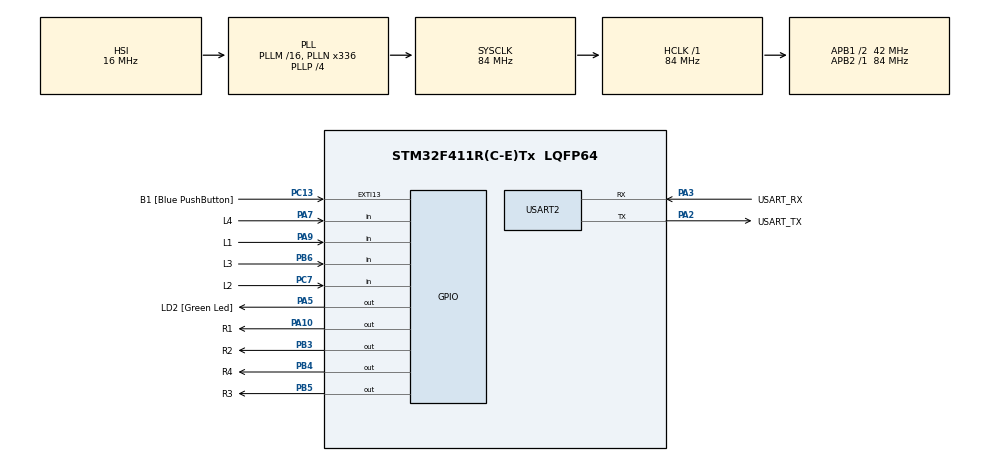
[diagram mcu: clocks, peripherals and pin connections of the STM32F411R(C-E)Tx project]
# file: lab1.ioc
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Mcu.Family=STM32F4
Mcu.Name=STM32F411R(C-E)Tx
Mcu.Package=LQFP64
NVIC.PriorityGroup=NVIC_PRIORITYGROUP_0
PA10.GPIO_Label=R1
PA10.GPIO_Speed=GPIO_SPEED_FREQ_LOW
PA10.PinState=GPIO_PIN_SET
PA10.Signal=GPIO_Output
PA13.GPIO_Label=TMS
PA13.Mode=Serial_Wire
PA13.Signal=SYS_JTMS-SWDIO
PA14.GPIO_Label=TCK
PA14.Mode=Serial_Wire
PA14.Signal=SYS_JTCK-SWCLK
PA2.GPIO_Label=USART_TX
PA2.Mode=Asynchronous
PA2.Signal=USART2_TX
PA3.GPIO_Label=USART_RX
PA3.Mode=Asynchronous
PA3.Signal=USART2_RX
PA5.GPIO_Label=LD2 [Green Led]
PA5.Signal=GPIO_Output
PA7.GPIO_Label=L4
PA7.GPIO_PuPd=GPIO_PULLUP
PA7.Signal=GPIO_Input
PA9.GPIO_Label=L1
PA9.GPIO_PuPd=GPIO_PULLUP
PA9.Signal=GPIO_Input
PB3.GPIO_Label=R2
PB3.GPIO_Speed=GPIO_SPEED_FREQ_LOW
PB3.PinState=GPIO_PIN_SET
PB3.Signal=GPIO_Output
PB4.GPIO_Label=R4
PB4.GPIO_Speed=GPIO_SPEED_FREQ_LOW
PB4.PinState=GPIO_PIN_SET
PB4.Signal=GPIO_Output
PB5.GPIO_Label=R3
PB5.GPIO_Speed=GPIO_SPEED_FREQ_LOW
PB5.PinState=GPIO_PIN_SET
PB5.Signal=GPIO_Output
PB6.GPIO_Label=L3
PB6.GPIO_PuPd=GPIO_PULLUP
PB6.Signal=GPIO_Input
PC13-ANTI_TAMP.GPIO_Label=B1 [Blue PushButton]
PC13-ANTI_TAMP.GPIO_ModeDefaultEXTI=GPIO_MODE_IT_FALLING
PC13-ANTI_TAMP.Signal=GPXTI13
PC14-OSC32_IN.Mode=LSE-External-Oscillator
PC14-OSC32_IN.Signal=RCC_OSC32_IN
PC15-OSC32_OUT.Mode=LSE-External-Oscillator
PC15-OSC32_OUT.Signal=RCC_OSC32_OUT
PC7.GPIO_Label=L2
PC7.GPIO_PuPd=GPIO_PULLUP
PC7.Signal=GPIO_Input
PH0\ -\ OSC_IN.Mode=HSE-External-Clock-Source
PH0\ -\ OSC_IN.Signal=RCC_OSC_IN
PH1\ -\ OSC_OUT.Mode=HSE-External-Clock-Source
PH1\ -\ OSC_OUT.Signal=RCC_OSC_OUT
ProjectManager.HeapSize=0x200
ProjectManager.StackSize=0x400
ProjectManager.TargetToolchain=STM32CubeIDE
RCC.48MHZClocksFreq_Value=84000000
RCC.AHBFreq_Value=84000000
RCC.APB1CLKDivider=RCC_HCLK_DIV2
RCC.APB1Freq_Value=42000000
RCC.APB1TimFreq_Value=84000000
RCC.APB2Freq_Value=84000000
RCC.APB2TimFreq_Value=84000000
RCC.CortexFreq_Value=84000000
RCC.FLatency-AdvancedSettings=FLASH_LATENCY_2
RCC.HCLKFreq_Value=84000000
RCC.HSE_VALUE=8000000
RCC.HSI_VALUE=16000000
RCC.PLLN=336
RCC.PLLP=RCC_PLLP_DIV4
RCC.SYSCLKFreq_VALUE=84000000
RCC.SYSCLKSource=RCC_SYSCLKSOURCE_PLLCLK
RCC.VCOOutputFreq_Value=336000000
USART2.VirtualMode=VM_ASYNC
board=NUCLEO-F411RE

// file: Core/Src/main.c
/* USER CODE BEGIN Header */
/**
  ******************************************************************************
  * @file           : main.c
  * @brief          : Main program body
  ******************************************************************************
  * @attention
  *
  * Copyright (c) 2023 STMicroelectronics.
  * All rights reserved.
  *
  * This software is licensed under terms that can be found in the LICENSE file
  * in the root directory of this software component.
  * If no LICENSE file comes with this software, it is provided AS-IS.
  *
  ******************************************************************************
  */
/* USER CODE END Header */
#include "main.h"

UART_HandleTypeDef huart2;

/* USER CODE BEGIN PV */
struct PortPin
{
	GPIO_TypeDef* PORT;
	uint16_t PIN;
};

struct PortPin R[4] = {

	{GPIOA, GPIO_PIN_10},
	{GPIOB, GPIO_PIN_3},
	{GPIOB, GPIO_PIN_5},
	{GPIOB, GPIO_PIN_4}

};

struct PortPin L[4] = {

	{GPIOA, GPIO_PIN_9},
	{GPIOC, GPIO_PIN_7},
	{GPIOB, GPIO_PIN_6},
	{GPIOA, GPIO_PIN_7}

};

uint16_t MyID[11] = {
	// 64340500016
	0b1000000000, //6
	0b10, //4
	0b10000000000, //3
	0b10, //4
	0b1000, // 0
	0b100000, // 5
	0b1000, // 0
	0b1000, // 0
	0b1000, // 0
	0b100, // 1
	0b1000000000 //6
};

uint16_t ButtonMatrix = 0;
uint16_t BackupMatrix = 0;
uint8_t countinput = 0;
uint8_t flag = 0;

/* USER CODE END PV */

void SystemClock_Config(void);
static void MX_GPIO_Init(void);
static void MX_USART2_UART_Init(void);
/* USER CODE BEGIN PFP */
void ReadMatrixButton_1Row();

/* USER CODE END PFP */

int main(void)
{

  /* MCU Configuration--------------------------------------------------------*/

  /* Reset of all peripherals, Initializes the Flash interface and the Systick. */
  HAL_Init();

  /* Configure the system clock */
  SystemClock_Config();

  /* Initialize all configured peripherals */
  MX_GPIO_Init();
  MX_USART2_UART_Init();

  /* Infinite loop */
  while (1)
  {

    /* USER CODE BEGIN 3 */
	  static uint32_t timestamp = 0;
	  if(HAL_GetTick() >= timestamp)
	  {
		timestamp = HAL_GetTick() + 100;

		// read matrix
		register int j;
		for(j=0;j<4;j++){
			ReadMatrixButton_1Row();
		}
		if(BackupMatrix == 0 && ButtonMatrix != 0 && flag <= 10 && (ButtonMatrix != 0b10000000000000)){
			countinput++;
			if(ButtonMatrix == MyID[countinput-1]){
				flag = flag + 1;
			}
		}
	  }

		// Check ok
		if((ButtonMatrix == 0b1000000000000000) && (flag == 11) && (BackupMatrix == 0)){
			HAL_GPIO_WritePin(GPIOA, GPIO_PIN_5, GPIO_PIN_SET); // LD2 ติด
		}

		// Check backspace
		if((ButtonMatrix == 0b10000000000000) &&(BackupMatrix == 0)){
			countinput--;
		}

		// Check clear
		if((ButtonMatrix == 0b1000000000000) && (BackupMatrix == 0)){
			HAL_GPIO_WritePin(GPIOA, GPIO_PIN_5, GPIO_PIN_RESET); // LD2 ดับ
			countinput = 0;
			flag = 0;
		}
		BackupMatrix = ButtonMatrix; // update

  }
  /* USER CODE END 3 */
}

void SystemClock_Config(void)
{
  RCC_OscInitTypeDef RCC_OscInitStruct = {0};
  RCC_ClkInitTypeDef RCC_ClkInitStruct = {0};

  /** Configure the main internal regulator output voltage
  */
  __HAL_RCC_PWR_CLK_ENABLE();
  __HAL_PWR_VOLTAGESCALING_CONFIG(PWR_REGULATOR_VOLTAGE_SCALE1);

  /** Initializes the RCC Oscillators according to the specified parameters
  * in the RCC_OscInitTypeDef structure.
  */
  RCC_OscInitStruct.OscillatorType = RCC_OSCILLATORTYPE_HSI;
  RCC_OscInitStruct.HSIState = RCC_HSI_ON;
  RCC_OscInitStruct.HSICalibrationValue = RCC_HSICALIBRATION_DEFAULT;
  RCC_OscInitStruct.PLL.PLLState = RCC_PLL_ON;
  RCC_OscInitStruct.PLL.PLLSource = RCC_PLLSOURCE_HSI;
  RCC_OscInitStruct.PLL.PLLM = 16;
  RCC_OscInitStruct.PLL.PLLN = 336;
  RCC_OscInitStruct.PLL.PLLP = RCC_PLLP_DIV4;
  RCC_OscInitStruct.PLL.PLLQ = 4;
  if (HAL_RCC_OscConfig(&RCC_OscInitStruct) != HAL_OK)
  {
    Error_Handler();
  }

  /** Initializes the CPU, AHB and APB buses clocks
  */
  RCC_ClkInitStruct.ClockType = RCC_CLOCKTYPE_HCLK|RCC_CLOCKTYPE_SYSCLK
                              |RCC_CLOCKTYPE_PCLK1|RCC_CLOCKTYPE_PCLK2;
  RCC_ClkInitStruct.SYSCLKSource = RCC_SYSCLKSOURCE_PLLCLK;
  RCC_ClkInitStruct.AHBCLKDivider = RCC_SYSCLK_DIV1;
  RCC_ClkInitStruct.APB1CLKDivider = RCC_HCLK_DIV2;
  RCC_ClkInitStruct.APB2CLKDivider = RCC_HCLK_DIV1;

  if (HAL_RCC_ClockConfig(&RCC_ClkInitStruct, FLASH_LATENCY_2) != HAL_OK)
  {
    Error_Handler();
  }
}

static void MX_USART2_UART_Init(void)
{

  huart2.Instance = USART2;
  huart2.Init.BaudRate = 115200;
  huart2.Init.WordLength = UART_WORDLENGTH_8B;
  huart2.Init.StopBits = UART_STOPBITS_1;
  huart2.Init.Parity = UART_PARITY_NONE;
  huart2.Init.Mode = UART_MODE_TX_RX;
  huart2.Init.HwFlowCtl = UART_HWCONTROL_NONE;
  huart2.Init.OverSampling = UART_OVERSAMPLING_16;
  if (HAL_UART_Init(&huart2) != HAL_OK)
  {
    Error_Handler();
  }

}

static void MX_GPIO_Init(void)
{
  GPIO_InitTypeDef GPIO_InitStruct = {0};

  /* GPIO Ports Clock Enable */
  __HAL_RCC_GPIOC_CLK_ENABLE();
  __HAL_RCC_GPIOH_CLK_ENABLE();
  __HAL_RCC_GPIOA_CLK_ENABLE();
  __HAL_RCC_GPIOB_CLK_ENABLE();

  /*Configure GPIO pin Output Level */
  HAL_GPIO_WritePin(LD2_GPIO_Port, LD2_Pin, GPIO_PIN_RESET);

  /*Configure GPIO pin Output Level */
  HAL_GPIO_WritePin(R1_GPIO_Port, R1_Pin, GPIO_PIN_SET);

  /*Configure GPIO pin Output Level */
  HAL_GPIO_WritePin(GPIOB, R2_Pin|R4_Pin|R3_Pin, GPIO_PIN_SET);

  /*Configure GPIO pin : B1_Pin */
  GPIO_InitStruct.Pin = B1_Pin;
  GPIO_InitStruct.Mode = GPIO_MODE_IT_FALLING;
  GPIO_InitStruct.Pull = GPIO_NOPULL;
  HAL_GPIO_Init(B1_GPIO_Port, &GPIO_InitStruct);

  /*Configure GPIO pins : LD2_Pin R1_Pin */
  GPIO_InitStruct.Pin = LD2_Pin|R1_Pin;
  GPIO_InitStruct.Mode = GPIO_MODE_OUTPUT_PP;
  GPIO_InitStruct.Pull = GPIO_NOPULL;
  GPIO_InitStruct.Speed = GPIO_SPEED_FREQ_LOW;
  HAL_GPIO_Init(GPIOA, &GPIO_InitStruct);

  /*Configure GPIO pins : L4_Pin L1_Pin */
  GPIO_InitStruct.Pin = L4_Pin|L1_Pin;
  GPIO_InitStruct.Mode = GPIO_MODE_INPUT;
  GPIO_InitStruct.Pull = GPIO_PULLUP;
  HAL_GPIO_Init(GPIOA, &GPIO_InitStruct);

  /*Configure GPIO pin : L2_Pin */
  GPIO_InitStruct.Pin = L2_Pin;
  GPIO_InitStruct.Mode = GPIO_MODE_INPUT;
  GPIO_InitStruct.Pull = GPIO_PULLUP;
  HAL_GPIO_Init(L2_GPIO_Port, &GPIO_InitStruct);

  /*Configure GPIO pins : R2_Pin R4_Pin R3_Pin */
  GPIO_InitStruct.Pin = R2_Pin|R4_Pin|R3_Pin;
  GPIO_InitStruct.Mode = GPIO_MODE_OUTPUT_PP;
  GPIO_InitStruct.Pull = GPIO_NOPULL;
  GPIO_InitStruct.Speed = GPIO_SPEED_FREQ_LOW;
  HAL_GPIO_Init(GPIOB, &GPIO_InitStruct);

  /*Configure GPIO pin : L3_Pin */
  GPIO_InitStruct.Pin = L3_Pin;
  GPIO_InitStruct.Mode = GPIO_MODE_INPUT;
  GPIO_InitStruct.Pull = GPIO_PULLUP;
  HAL_GPIO_Init(L3_GPIO_Port, &GPIO_InitStruct);

}

/* USER CODE BEGIN 4 */
void ReadMatrixButton_1Row()
{
	//
	static uint8_t X = 0;

	// Read L1-L4
	register int i;
	for(i=0;i<4;i++)
	{
		if(HAL_GPIO_ReadPin(L[i].PORT, L[i].PIN) == 1)// HIGH ไม่โดนกด
		{
			ButtonMatrix &= ~(1<<(X*4+i));
			// x = 0 , i = 1
			// ~(1<<(X*4+i)) = ~(1<<(0*4+1)) = ~(1<<1) = ~(0010) = 1101
			// 1&0 = 0, 0&0 = 0, 1&1 = 1
		}
		else
		{
			ButtonMatrix |= 1<<(X*4+i); // LOW โดนกด
			// x = 0, i = 2
			// 1<<(0*4+2) =  1<<2 = 0100
			// 0010000000000000 | 0100
			// 0|0 = 0, 1|0 = 1, 1|1 = 1

		}
	}
	// Set RX
	HAL_GPIO_WritePin(R[X].PORT, R[X].PIN, 1);
	// Reset RX+1%4
	HAL_GPIO_WritePin(R[(X+1)%4].PORT, R[(X+1)%4].PIN, 0);
	X++;
	X%=4;
}

/* USER CODE END 4 */

void Error_Handler(void)
{
  __disable_irq();
  while (1)
  {
  }
}
